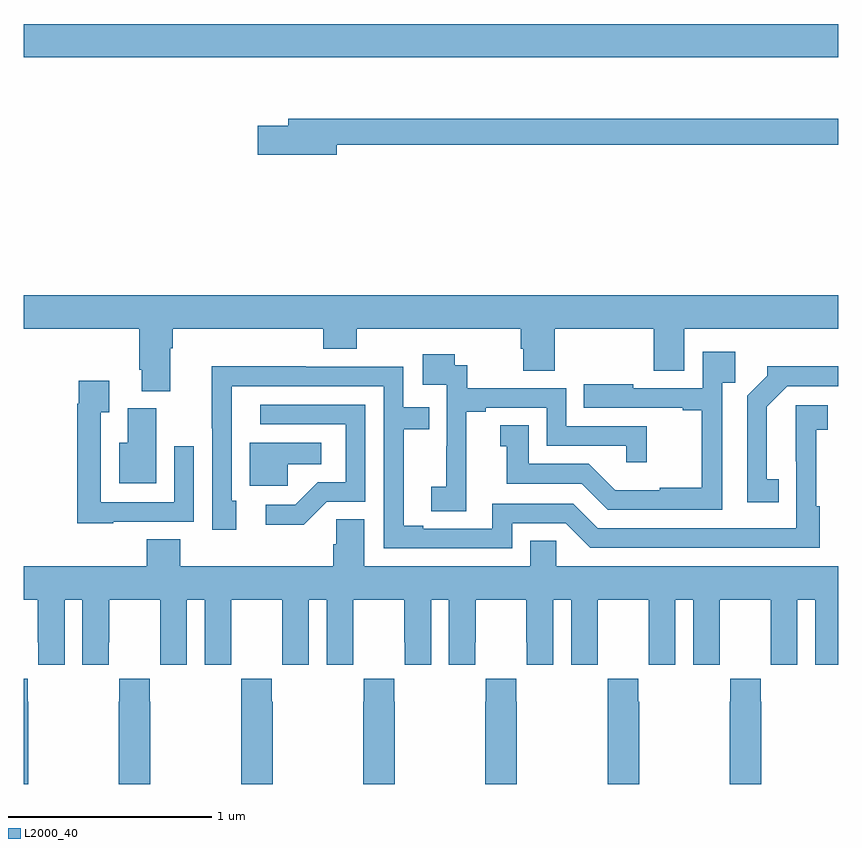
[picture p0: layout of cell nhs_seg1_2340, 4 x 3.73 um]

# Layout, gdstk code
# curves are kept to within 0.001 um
import gdstk
lib = gdstk.Library(unit=1e-6, precision=1e-09)
def R(c, l, rs):  # rectangles x0, y0, x1, y1
    for r in rs: c.add(gdstk.rectangle(r[:2], r[2:], *l))
def P(c, l, *ps):  # polygons
    for p in ps: c.add(gdstk.Polygon(p, *l))
L2000_40 = (2000, 40)

nhs_seg1_2340 = lib.new_cell('nhs_seg1_2340')
R(nhs_seg1_2340, L2000_40, [(239,515.768,243,515.932)])
P(nhs_seg1_2340, L2000_40, [(240.538,515.338),(243,515.338),(243,515.467),(240.299,515.467),(240.299,515.433),(240.15,515.433),(240.15,515.291),(240.538,515.291)],
  [(239.719,514.34),(239.732,514.34),(239.732,514.436),(240.47,514.436),(240.47,514.337),(240.635,514.337),(240.635,514.436),(241.442,514.436),(241.442,514.338),(241.454,514.338),(241.454,514.228),(241.607,514.228),(241.607,514.436),(242.093,514.436),(242.093,514.228),(242.245,514.228),(242.245,514.436),(243,514.436),(243,514.6),(239,514.6),(239,514.436),(239.567,514.436),(239.567,514.234),(239.579,514.234),(239.579,514.129),(239.719,514.129)],
  [(242.43,514.169),(242.495,514.169),(242.495,514.321),(242.334,514.321),(242.334,514.143),(241.993,514.143),(241.993,514.162),(241.75,514.162),(241.75,514.047),(242.237,514.047),(242.237,514.035),(242.329,514.035),(242.329,513.655),(242.123,513.655),(242.123,513.643),(241.904,513.643),(241.776,513.771),(241.48,513.771),(241.48,513.962),(241.34,513.962),(241.34,513.859),(241.373,513.859),(241.373,513.675),(241.74,513.675),(241.869,513.546),(242.43,513.546)],
  [(241.172,513.649),(241.174,513.649),(241.174,514.027),(241.27,514.027),(241.27,514.047),(241.569,514.047),(241.569,513.861),(241.959,513.861),(241.959,513.78),(242.06,513.78),(242.06,513.957),(241.665,513.957),(241.665,514.143),(241.178,514.143),(241.178,514.257),(241.116,514.257),(241.116,514.309),(240.96,514.309),(240.96,514.161),(241.077,514.161),(241.077,513.857),(241.076,513.857),(241.076,513.66),(241.002,513.66),(241.002,513.538),(241.172,513.538)],
  [(242.708,513.695),(242.65,513.695),(242.65,514.051),(242.751,514.152),(243,514.152),(243,514.25),(242.652,514.25),(242.652,514.205),(242.553,514.106),(242.553,513.582),(242.708,513.582)],
  [(241.398,513.48),(241.662,513.48),(241.782,513.36),(242.909,513.36),(242.909,513.563),(242.892,513.563),(242.892,513.939),(242.95,513.939),(242.95,514.06),(242.792,514.06),(242.793,513.456),(241.818,513.456),(241.698,513.576),(241.302,513.576),(241.302,513.453),(240.961,513.453),(240.961,513.468),(240.865,513.468),(240.865,513.942),(240.992,513.942),(240.992,514.05),(240.864,514.05),(240.864,514.248),(240.386,514.248),(240.386,514.25),(239.924,514.25),(239.925,513.447),(240.043,513.447),(240.043,513.591),(240.021,513.591),(240.021,514.152),(240.768,514.152),(240.768,513.357),(241.398,513.357)],
  [(239.439,513.486),(239.835,513.486),(239.835,513.859),(239.739,513.859),(239.739,513.582),(239.379,513.582),(239.379,514.024),(239.419,514.024),(239.419,514.18),(239.271,514.18),(239.271,514.067),(239.263,514.067),(239.263,513.479),(239.439,513.479)],
  [(240.489,513.585),(240.678,513.585),(240.678,514.062),(240.162,514.062),(240.162,513.966),(240.582,513.966),(240.582,513.681),(240.444,513.681),(240.333,513.57),(240.189,513.57),(240.189,513.472),(240.376,513.472)],
  [(239.65,514.044),(239.51,514.044),(239.51,513.874),(239.468,513.874),(239.468,513.677),(239.65,513.677)],
  [(240.297,513.77),(240.46,513.77),(240.46,513.874),(240.11,513.874),(240.11,513.663),(240.297,513.663)],
  [(239.768,513.401),(239.603,513.401),(239.603,513.268),(239,513.268),(239,513.104),(239.069,513.104),(239.069,512.896),(239.07,512.896),(239.07,512.784),(239.2,512.784),(239.2,513.104),(239.288,513.104),(239.288,512.784),(239.418,512.784),(239.418,512.896),(239.419,512.896),(239.419,513.104),(239.669,513.104),(239.669,512.896),(239.67,512.896),(239.67,512.784),(239.8,512.784),(239.8,513.104),(239.888,513.104),(239.888,512.784),(240.018,512.784),(240.018,512.896),(240.019,512.896),(240.019,513.104),(240.269,513.104),(240.269,512.896),(240.27,512.896),(240.27,512.784),(240.4,512.784),(240.4,513.104),(240.488,513.104),(240.488,512.784),(240.618,512.784),(240.618,512.896),(240.619,512.896),(240.619,513.104),(240.869,513.104),(240.869,512.896),(240.87,512.896),(240.87,512.784),(241,512.784),(241,513.104),(241.088,513.104),(241.088,512.784),(241.218,512.784),(241.218,512.896),(241.219,512.896),(241.219,513.104),(241.469,513.104),(241.469,512.896),(241.47,512.896),(241.47,512.784),(241.6,512.784),(241.6,513.104),(241.688,513.104),(241.688,512.784),(241.818,512.784),(241.818,512.896),(241.819,512.896),(241.819,513.104),(242.069,513.104),(242.069,512.896),(242.07,512.896),(242.07,512.784),(242.2,512.784),(242.2,513.104),(242.288,513.104),(242.288,512.784),(242.418,512.784),(242.418,512.896),(242.419,512.896),(242.419,513.104),(242.669,513.104),(242.669,512.896),(242.67,512.896),(242.67,512.784),(242.8,512.784),(242.8,513.104),(242.888,513.104),(242.888,512.784),(243,512.784),(243,513.268),(241.614,513.268),(241.614,513.395),(241.487,513.395),(241.487,513.268),(240.673,513.268),(240.673,513.5),(240.534,513.5),(240.534,513.377),(240.521,513.377),(240.521,513.268),(239.768,513.268)],
  [(239.022,512.603),(239.019,512.603),(239.019,512.716),(239,512.716),(239,512.199),(239.022,512.199)],
  [(239.622,512.603),(239.619,512.603),(239.619,512.716),(239.469,512.716),(239.469,512.603),(239.467,512.603),(239.467,512.199),(239.622,512.199)],
  [(240.222,512.603),(240.219,512.603),(240.219,512.716),(240.069,512.716),(240.069,512.603),(240.067,512.603),(240.067,512.199),(240.222,512.199)],
  [(242.622,512.603),(242.619,512.603),(242.619,512.716),(242.469,512.716),(242.469,512.603),(242.467,512.603),(242.467,512.199),(242.622,512.199)],
  [(242.022,512.603),(242.019,512.603),(242.019,512.716),(241.869,512.716),(241.869,512.603),(241.867,512.603),(241.867,512.199),(242.022,512.199)],
  [(241.422,512.603),(241.419,512.603),(241.419,512.716),(241.269,512.716),(241.269,512.603),(241.267,512.603),(241.267,512.199),(241.422,512.199)],
  [(240.822,512.603),(240.819,512.603),(240.819,512.716),(240.669,512.716),(240.669,512.603),(240.667,512.603),(240.667,512.199),(240.822,512.199)])

lib.write_gds('nhs_seg1_2340.gds')
